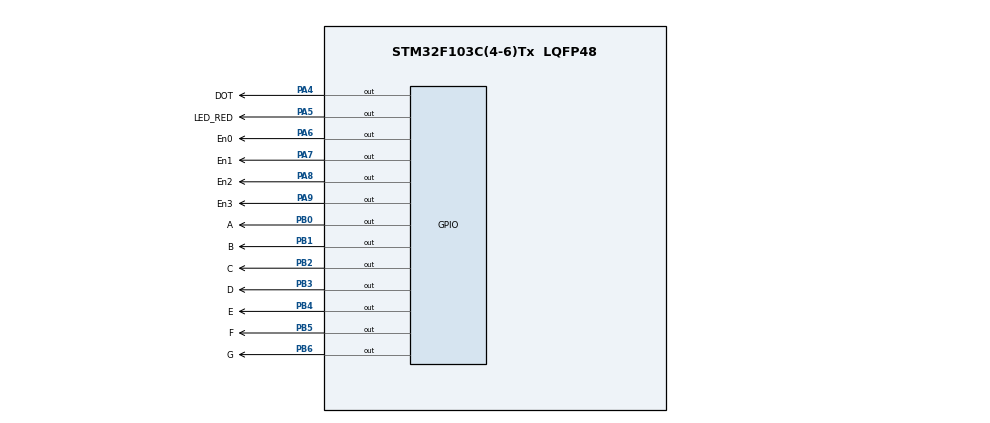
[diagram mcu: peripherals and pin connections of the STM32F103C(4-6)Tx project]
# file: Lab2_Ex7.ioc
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Mcu.Family=STM32F1
Mcu.Name=STM32F103C(4-6)Tx
Mcu.Package=LQFP48
NVIC.PriorityGroup=NVIC_PRIORITYGROUP_4
NVIC.TIM2_IRQn=true\:0\:0\:false\:false\:true\:true\:true
PA4.GPIO_Label=DOT
PA4.Signal=GPIO_Output
PA5.GPIO_Label=LED_RED
PA5.Signal=GPIO_Output
PA6.GPIO_Label=En0
PA6.Signal=GPIO_Output
PA7.GPIO_Label=En1
PA7.Signal=GPIO_Output
PA8.GPIO_Label=En2
PA8.Signal=GPIO_Output
PA9.GPIO_Label=En3
PA9.Signal=GPIO_Output
PB0.GPIO_Label=A
PB0.Signal=GPIO_Output
PB1.GPIO_Label=B
PB1.Signal=GPIO_Output
PB2.GPIO_Label=C
PB2.Signal=GPIO_Output
PB3.GPIO_Label=D
PB3.Signal=GPIO_Output
PB4.GPIO_Label=E
PB4.Signal=GPIO_Output
PB5.GPIO_Label=F
PB5.Signal=GPIO_Output
PB6.GPIO_Label=G
PB6.Signal=GPIO_Output
ProjectManager.HeapSize=0x200
ProjectManager.StackSize=0x400
ProjectManager.TargetToolchain=STM32CubeIDE
RCC.APB1Freq_Value=8000000
RCC.APB2Freq_Value=8000000
TIM2.Period=9
TIM2.Prescaler=7999
VP_SYS_VS_ND.Mode=No_Debug
VP_TIM2_VS_ClockSourceINT.Mode=Internal
board=custom

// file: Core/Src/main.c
/* USER CODE BEGIN Header */
/**
  ******************************************************************************
  * @file           : main.c
  * @brief          : Main program body
  ******************************************************************************
  * @attention
  *
  * <h2><center>&copy; Copyright (c) 2023 STMicroelectronics.
  * All rights reserved.</center></h2>
  *
  * This software component is licensed by ST under BSD 3-Clause license,
  * the "License"; You may not use this file except in compliance with the
  * License. You may obtain a copy of the License at:
  *                        opensource.org/licenses/BSD-3-Clause
  *
  ******************************************************************************
  */
/* USER CODE END Header */
#include "main.h"

TIM_HandleTypeDef htim2;

void SystemClock_Config(void);
static void MX_GPIO_Init(void);
static void MX_TIM2_Init(void);

/* USER CODE BEGIN 0 */
int timer0_counter = 0;
int timer0_flag = 1;
int timer1_counter = 0;
int timer1_flag = 1;
int TIMER_CYCLE = 10;
void setTimer0(int duration){
	timer0_counter = duration / TIMER_CYCLE;
	timer0_flag = 0;
}
void setTimer1(int duration){
	timer1_counter = duration / TIMER_CYCLE;
	timer1_flag = 0;
}
void timer_run(){
	if(timer0_counter > 0){
		timer0_counter--;
		if(timer0_counter == 0){
			timer0_flag = 1;
		}
	}
	if(timer1_counter > 0){
		timer1_counter--;
		if(timer1_counter == 0){
			timer1_flag = 1;
		}
	}
}
void display7SEG(int num) {
	switch(num) {
		case 0:
			HAL_GPIO_WritePin(A_GPIO_Port,A_Pin,RESET);
			HAL_GPIO_WritePin(B_GPIO_Port,B_Pin,RESET);
			HAL_GPIO_WritePin(C_GPIO_Port,C_Pin,RESET);
			HAL_GPIO_WritePin(D_GPIO_Port,D_Pin,RESET);
			HAL_GPIO_WritePin(E_GPIO_Port,E_Pin,RESET);
			HAL_GPIO_WritePin(F_GPIO_Port,F_Pin,RESET);
			HAL_GPIO_WritePin(G_GPIO_Port,G_Pin,SET);
			break;

		case 1:
			HAL_GPIO_WritePin(A_GPIO_Port,A_Pin,SET);
			HAL_GPIO_WritePin(B_GPIO_Port,B_Pin,RESET);
			HAL_GPIO_WritePin(C_GPIO_Port,C_Pin,RESET);
			HAL_GPIO_WritePin(D_GPIO_Port,D_Pin,SET);
			HAL_GPIO_WritePin(E_GPIO_Port,E_Pin,SET);
			HAL_GPIO_WritePin(F_GPIO_Port,F_Pin,SET);
			HAL_GPIO_WritePin(G_GPIO_Port,G_Pin,SET);
			break;

		case 2:
			HAL_GPIO_WritePin(A_GPIO_Port,A_Pin,RESET);
			HAL_GPIO_WritePin(B_GPIO_Port,B_Pin,RESET);
			HAL_GPIO_WritePin(C_GPIO_Port,C_Pin,SET);
			HAL_GPIO_WritePin(D_GPIO_Port,D_Pin,RESET);
			HAL_GPIO_WritePin(E_GPIO_Port,E_Pin,RESET);
			HAL_GPIO_WritePin(F_GPIO_Port,F_Pin,SET);
			HAL_GPIO_WritePin(G_GPIO_Port,G_Pin,RESET);
			break;

		case 3:
			HAL_GPIO_WritePin(A_GPIO_Port,A_Pin,RESET);
			HAL_GPIO_WritePin(B_GPIO_Port,B_Pin,RESET);
			HAL_GPIO_WritePin(C_GPIO_Port,C_Pin,RESET);
			HAL_GPIO_WritePin(D_GPIO_Port,D_Pin,RESET);
			HAL_GPIO_WritePin(E_GPIO_Port,E_Pin,SET);
			HAL_GPIO_WritePin(F_GPIO_Port,F_Pin,SET);
			HAL_GPIO_WritePin(G_GPIO_Port,G_Pin,RESET);
			break;

		case 4:
			HAL_GPIO_WritePin(A_GPIO_Port,A_Pin,SET);
			HAL_GPIO_WritePin(B_GPIO_Port,B_Pin,RESET);
			HAL_GPIO_WritePin(C_GPIO_Port,C_Pin,RESET);
			HAL_GPIO_WritePin(D_GPIO_Port,D_Pin,SET);
			HAL_GPIO_WritePin(E_GPIO_Port,E_Pin,SET);
			HAL_GPIO_WritePin(F_GPIO_Port,F_Pin,RESET);
			HAL_GPIO_WritePin(G_GPIO_Port,G_Pin,RESET);
			break;

		case 5:
			HAL_GPIO_WritePin(A_GPIO_Port,A_Pin,RESET);
			HAL_GPIO_WritePin(B_GPIO_Port,B_Pin,SET);
			HAL_GPIO_WritePin(C_GPIO_Port,C_Pin,RESET);
			HAL_GPIO_WritePin(D_GPIO_Port,D_Pin,RESET);
			HAL_GPIO_WritePin(E_GPIO_Port,E_Pin,SET);
			HAL_GPIO_WritePin(F_GPIO_Port,F_Pin,RESET);
			HAL_GPIO_WritePin(G_GPIO_Port,G_Pin,RESET);
			break;

		case 6:
			HAL_GPIO_WritePin(A_GPIO_Port,A_Pin,RESET);
			HAL_GPIO_WritePin(B_GPIO_Port,B_Pin,SET);
			HAL_GPIO_WritePin(C_GPIO_Port,C_Pin,RESET);
			HAL_GPIO_WritePin(D_GPIO_Port,D_Pin,RESET);
			HAL_GPIO_WritePin(E_GPIO_Port,E_Pin,RESET);
			HAL_GPIO_WritePin(F_GPIO_Port,F_Pin,RESET);
			HAL_GPIO_WritePin(G_GPIO_Port,G_Pin,RESET);
			break;

		case 7:
			HAL_GPIO_WritePin(A_GPIO_Port,A_Pin,RESET);
			HAL_GPIO_WritePin(B_GPIO_Port,B_Pin,RESET);
			HAL_GPIO_WritePin(C_GPIO_Port,C_Pin,RESET);
			HAL_GPIO_WritePin(D_GPIO_Port,D_Pin,SET);
			HAL_GPIO_WritePin(E_GPIO_Port,E_Pin,SET);
			HAL_GPIO_WritePin(F_GPIO_Port,F_Pin,SET);
			HAL_GPIO_WritePin(G_GPIO_Port,G_Pin,SET);
			break;

		case 8:
			HAL_GPIO_WritePin(A_GPIO_Port,A_Pin,RESET);
			HAL_GPIO_WritePin(B_GPIO_Port,B_Pin,RESET);
			HAL_GPIO_WritePin(C_GPIO_Port,C_Pin,RESET);
			HAL_GPIO_WritePin(D_GPIO_Port,D_Pin,RESET);
			HAL_GPIO_WritePin(E_GPIO_Port,E_Pin,RESET);
			HAL_GPIO_WritePin(F_GPIO_Port,F_Pin,RESET);
			HAL_GPIO_WritePin(G_GPIO_Port,G_Pin,RESET);
			break;

		case 9:
			HAL_GPIO_WritePin(A_GPIO_Port,A_Pin,RESET);
			HAL_GPIO_WritePin(B_GPIO_Port,B_Pin,RESET);
			HAL_GPIO_WritePin(C_GPIO_Port,C_Pin,RESET);
			HAL_GPIO_WritePin(D_GPIO_Port,D_Pin,RESET);
			HAL_GPIO_WritePin(E_GPIO_Port,E_Pin,SET);
			HAL_GPIO_WritePin(F_GPIO_Port,F_Pin,RESET);
			HAL_GPIO_WritePin(G_GPIO_Port,G_Pin,RESET);
			break;

		default:
			HAL_GPIO_WritePin(A_GPIO_Port,A_Pin,RESET);
			HAL_GPIO_WritePin(B_GPIO_Port,B_Pin,RESET);
			HAL_GPIO_WritePin(C_GPIO_Port,C_Pin,RESET);
			HAL_GPIO_WritePin(D_GPIO_Port,D_Pin,RESET);
			HAL_GPIO_WritePin(E_GPIO_Port,E_Pin,RESET);
			HAL_GPIO_WritePin(F_GPIO_Port,F_Pin,RESET);
			HAL_GPIO_WritePin(G_GPIO_Port,G_Pin,RESET);
	}
}
int led_buffer[4] = {0, 1 , 2 , 3};
void updateClockBuffer(int hour, int minute) {
	led_buffer[0] = hour / 10;
	led_buffer[1] = hour % 10;
	led_buffer[2] = minute / 10;
	led_buffer[3] = minute % 10;
}
const int MAX_LED = 4;
void update7SEG(int index){
	switch(index){
			case 0:
				HAL_GPIO_WritePin(En0_GPIO_Port, En0_Pin, RESET);
				HAL_GPIO_WritePin(En1_GPIO_Port, En1_Pin, SET);
				HAL_GPIO_WritePin(En2_GPIO_Port, En2_Pin, SET);
				HAL_GPIO_WritePin(En3_GPIO_Port, En3_Pin, SET);
				display7SEG(led_buffer[0]);
				break;
			case 1:
				HAL_GPIO_WritePin(En0_GPIO_Port, En0_Pin, SET);
				HAL_GPIO_WritePin(En1_GPIO_Port, En1_Pin, RESET);
				HAL_GPIO_WritePin(En2_GPIO_Port, En2_Pin, SET);
				HAL_GPIO_WritePin(En3_GPIO_Port, En3_Pin, SET);
				display7SEG(led_buffer[1]);
				break;
			case 2:
				HAL_GPIO_WritePin(En0_GPIO_Port, En0_Pin, SET);
				HAL_GPIO_WritePin(En1_GPIO_Port, En1_Pin, SET);
				HAL_GPIO_WritePin(En2_GPIO_Port, En2_Pin, RESET);
				HAL_GPIO_WritePin(En3_GPIO_Port, En3_Pin, SET);
				display7SEG(led_buffer[2]);
				break;
			case 3:
				HAL_GPIO_WritePin(En0_GPIO_Port, En0_Pin, SET);
				HAL_GPIO_WritePin(En1_GPIO_Port, En1_Pin, SET);
				HAL_GPIO_WritePin(En2_GPIO_Port, En2_Pin, SET);
				HAL_GPIO_WritePin(En3_GPIO_Port, En3_Pin, RESET);
				display7SEG(led_buffer[3]);
				break;
			default:
				HAL_GPIO_WritePin(En0_GPIO_Port, En0_Pin, RESET);
				HAL_GPIO_WritePin(En1_GPIO_Port, En1_Pin, RESET);
				HAL_GPIO_WritePin(En2_GPIO_Port, En2_Pin, RESET);
				HAL_GPIO_WritePin(En3_GPIO_Port, En3_Pin, RESET);
				display7SEG(0);
	}
}
/* USER CODE END 0 */

int main(void)
{

  /* MCU Configuration--------------------------------------------------------*/

  /* Reset of all peripherals, Initializes the Flash interface and the Systick. */
  HAL_Init();

  /* Configure the system clock */
  SystemClock_Config();

  /* Initialize all configured peripherals */
  MX_GPIO_Init();
  MX_TIM2_Init();
  /* USER CODE BEGIN 2 */
  HAL_TIM_Base_Start_IT(&htim2);
  int hour = 15 , minute = 8 , second = 50;

  /* USER CODE END 2 */

  /* Infinite loop */
  while (1)
  {
	updateClockBuffer(hour, minute);
	  if(timer1_flag == 1){
		  HAL_GPIO_TogglePin(LED_RED_GPIO_Port, LED_RED_Pin);
		  HAL_GPIO_TogglePin(DOT_GPIO_Port, DOT_Pin);
		  setTimer1(250);
	  }
	  if(timer0_flag == 1){
		  second++;
		  if(second >= 60){
		  	second = 0;
		  	minute++;
		  }
		  if(minute >= 60){
		  	minute = 0;
		  	hour++;
		  }
		  if(hour >= 24){
		 	hour = 0;
		  }
		setTimer0(1000);
	  }
  }
}

void SystemClock_Config(void)
{
  RCC_OscInitTypeDef RCC_OscInitStruct = {0};
  RCC_ClkInitTypeDef RCC_ClkInitStruct = {0};

  /** Initializes the RCC Oscillators according to the specified parameters
  * in the RCC_OscInitTypeDef structure.
  */
  RCC_OscInitStruct.OscillatorType = RCC_OSCILLATORTYPE_HSI;
  RCC_OscInitStruct.HSIState = RCC_HSI_ON;
  RCC_OscInitStruct.HSICalibrationValue = RCC_HSICALIBRATION_DEFAULT;
  RCC_OscInitStruct.PLL.PLLState = RCC_PLL_NONE;
  if (HAL_RCC_OscConfig(&RCC_OscInitStruct) != HAL_OK)
  {
    Error_Handler();
  }
  /** Initializes the CPU, AHB and APB buses clocks
  */
  RCC_ClkInitStruct.ClockType = RCC_CLOCKTYPE_HCLK|RCC_CLOCKTYPE_SYSCLK
                              |RCC_CLOCKTYPE_PCLK1|RCC_CLOCKTYPE_PCLK2;
  RCC_ClkInitStruct.SYSCLKSource = RCC_SYSCLKSOURCE_HSI;
  RCC_ClkInitStruct.AHBCLKDivider = RCC_SYSCLK_DIV1;
  RCC_ClkInitStruct.APB1CLKDivider = RCC_HCLK_DIV1;
  RCC_ClkInitStruct.APB2CLKDivider = RCC_HCLK_DIV1;

  if (HAL_RCC_ClockConfig(&RCC_ClkInitStruct, FLASH_LATENCY_0) != HAL_OK)
  {
    Error_Handler();
  }
}

static void MX_TIM2_Init(void)
{

  TIM_ClockConfigTypeDef sClockSourceConfig = {0};
  TIM_MasterConfigTypeDef sMasterConfig = {0};

  htim2.Instance = TIM2;
  htim2.Init.Prescaler = 7999;
  htim2.Init.CounterMode = TIM_COUNTERMODE_UP;
  htim2.Init.Period = 9;
  htim2.Init.ClockDivision = TIM_CLOCKDIVISION_DIV1;
  htim2.Init.AutoReloadPreload = TIM_AUTORELOAD_PRELOAD_DISABLE;
  if (HAL_TIM_Base_Init(&htim2) != HAL_OK)
  {
    Error_Handler();
  }
  sClockSourceConfig.ClockSource = TIM_CLOCKSOURCE_INTERNAL;
  if (HAL_TIM_ConfigClockSource(&htim2, &sClockSourceConfig) != HAL_OK)
  {
    Error_Handler();
  }
  sMasterConfig.MasterOutputTrigger = TIM_TRGO_RESET;
  sMasterConfig.MasterSlaveMode = TIM_MASTERSLAVEMODE_DISABLE;
  if (HAL_TIMEx_MasterConfigSynchronization(&htim2, &sMasterConfig) != HAL_OK)
  {
    Error_Handler();
  }

}

static void MX_GPIO_Init(void)
{
  GPIO_InitTypeDef GPIO_InitStruct = {0};

  /* GPIO Ports Clock Enable */
  __HAL_RCC_GPIOA_CLK_ENABLE();
  __HAL_RCC_GPIOB_CLK_ENABLE();

  /*Configure GPIO pin Output Level */
  HAL_GPIO_WritePin(GPIOA, DOT_Pin|LED_RED_Pin|En0_Pin|En1_Pin
                          |En2_Pin|En3_Pin, GPIO_PIN_RESET);

  /*Configure GPIO pin Output Level */
  HAL_GPIO_WritePin(GPIOB, A_Pin|B_Pin|C_Pin|D_Pin
                          |E_Pin|F_Pin|G_Pin, GPIO_PIN_RESET);

  /*Configure GPIO pins : DOT_Pin LED_RED_Pin En0_Pin En1_Pin
                           En2_Pin En3_Pin */
  GPIO_InitStruct.Pin = DOT_Pin|LED_RED_Pin|En0_Pin|En1_Pin
                          |En2_Pin|En3_Pin;
  GPIO_InitStruct.Mode = GPIO_MODE_OUTPUT_PP;
  GPIO_InitStruct.Pull = GPIO_NOPULL;
  GPIO_InitStruct.Speed = GPIO_SPEED_FREQ_LOW;
  HAL_GPIO_Init(GPIOA, &GPIO_InitStruct);

  /*Configure GPIO pins : A_Pin B_Pin C_Pin D_Pin
                           E_Pin F_Pin G_Pin */
  GPIO_InitStruct.Pin = A_Pin|B_Pin|C_Pin|D_Pin
                          |E_Pin|F_Pin|G_Pin;
  GPIO_InitStruct.Mode = GPIO_MODE_OUTPUT_PP;
  GPIO_InitStruct.Pull = GPIO_NOPULL;
  GPIO_InitStruct.Speed = GPIO_SPEED_FREQ_LOW;
  HAL_GPIO_Init(GPIOB, &GPIO_InitStruct);

}

/* USER CODE BEGIN 4 */
int counter = 25;
int index_led = 0;
void HAL_TIM_PeriodElapsedCallback(TIM_HandleTypeDef *htim){
	timer_run();
	counter--;
	if ( counter <= 0) {
		counter = 25;
		if ( index_led > 3) {
			index_led = 0;
		}
		update7SEG ( index_led ) ;
		index_led ++;
	}
}
/* USER CODE END 4 */

void Error_Handler(void)
{
  __disable_irq();
  while (1)
  {
  }
}

/************************ (C) COPYRIGHT STMicroelectronics *****END OF FILE****/
